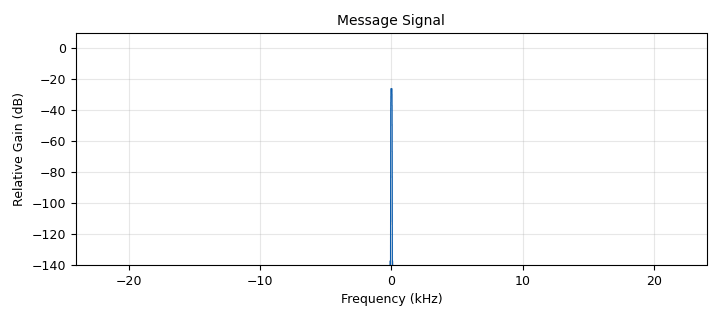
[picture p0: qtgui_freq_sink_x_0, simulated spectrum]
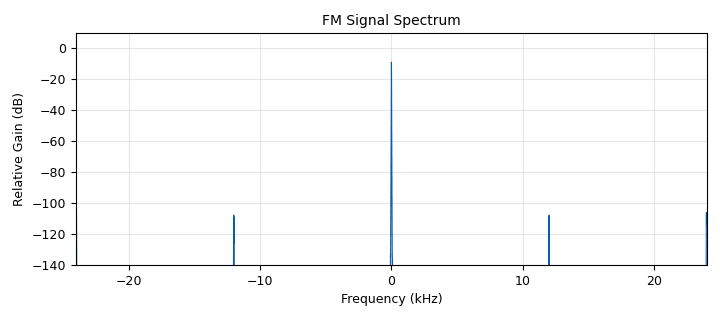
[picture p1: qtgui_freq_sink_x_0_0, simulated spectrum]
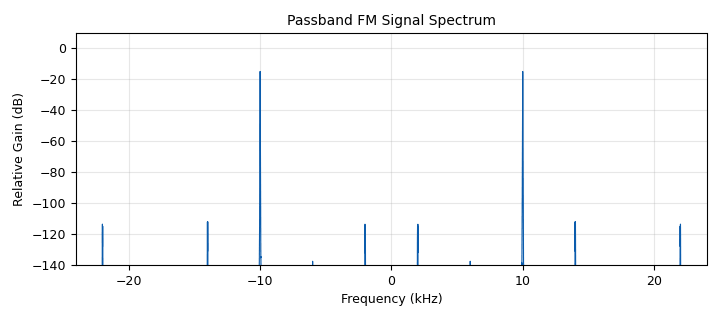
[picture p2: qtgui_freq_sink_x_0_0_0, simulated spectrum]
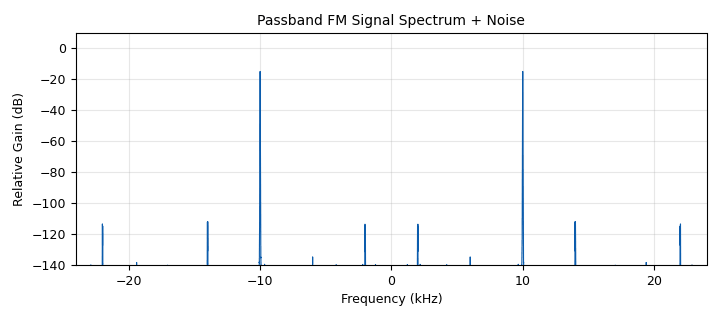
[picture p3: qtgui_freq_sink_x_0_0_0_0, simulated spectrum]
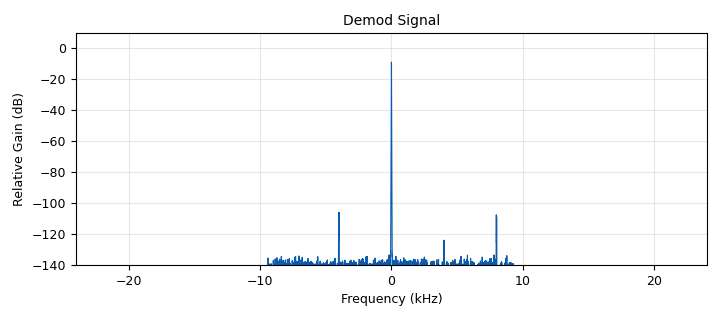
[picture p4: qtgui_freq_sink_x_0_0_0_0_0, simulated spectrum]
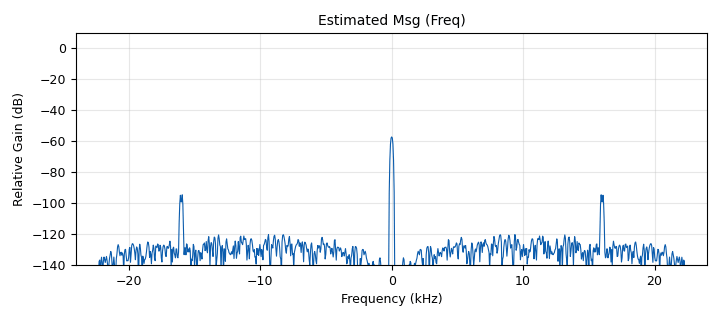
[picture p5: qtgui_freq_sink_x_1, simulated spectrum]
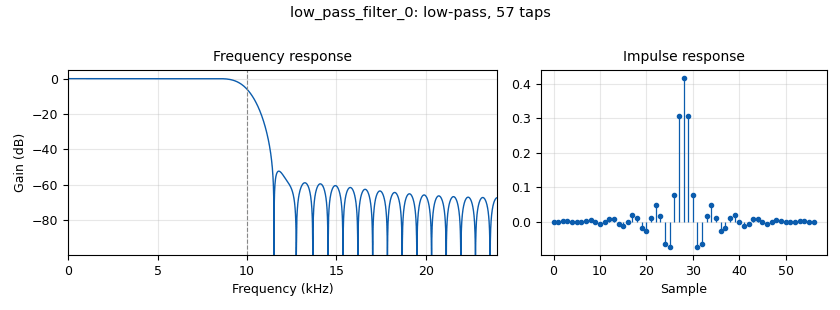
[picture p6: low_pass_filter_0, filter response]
options:
  parameters:
    author: Daniel C. Araújo
    description: Prática de Modula
    generate_options: qt_gui
    id: fm_mod_demod
    output_language: python
    title: Sistema de Transmissão FM
  states: {}

blocks:
- name: B
  id: variable
  parameters:
    value: 100/3.14
  states: {}
- name: SNR_dB
  id: variable_qtgui_range
  parameters:
    label: SNR (dB)
    start: '10'
    step: '1'
    stop: '100'
    value: '50'
  states: {}
- name: W
  id: variable
  parameters:
    value: 10e3
  states: {}
- name: decimation
  id: variable
  parameters:
    value: '4'
  states: {}
- name: f_c
  id: variable
  parameters:
    value: 10e3
  states: {}
- name: k_f
  id: variable_qtgui_range
  parameters:
    label: frequency-deviation constant
    start: '10'
    step: '1'
    stop: '200'
    value: '10'
  states: {}
- name: message_gain_dB
  id: variable_qtgui_range
  parameters:
    start: '0'
    step: '1'
    stop: '100'
    value: '50'
  states: {}
- name: nPoints
  id: variable
  parameters:
    value: int(samp_rate*t_max*2)
  states: {}
- name: samp_rate
  id: variable
  parameters:
    value: '48000'
  states: {}
- name: t_max
  id: variable
  parameters:
    value: '0.1'
  states: {}
- name: analog_noise_source_x_0
  id: analog_noise_source_x
  parameters:
    amp: 10**(-SNR_dB/10)
    noise_type: analog.GR_GAUSSIAN
    seed: '0'
    type: complex
  states: {}
- name: analog_sig_source_x_0_0_0
  id: analog_sig_source_x
  parameters:
    amp: '-1'
    freq: f_c
    offset: '0'
    phase: '0'
    samp_rate: samp_rate
    type: float
    waveform: analog.GR_SIN_WAVE
  states: {}
- name: analog_sig_source_x_0_0_0_0
  id: analog_sig_source_x
  parameters:
    amp: '1'
    freq: f_c
    offset: '0'
    phase: '0'
    samp_rate: samp_rate
    type: float
    waveform: analog.GR_SIN_WAVE
  states: {}
- name: analog_sig_source_x_0_1
  id: analog_sig_source_x
  parameters:
    amp: '1'
    freq: f_c
    offset: '0'
    phase: '0'
    samp_rate: samp_rate
    type: float
    waveform: analog.GR_COS_WAVE
  states: {}
- name: analog_wfm_rcv_0
  id: analog_wfm_rcv
  parameters:
    audio_decimation: decimation
    quad_rate: int(nPoints/(2*t_max))
  states: {}
- name: analog_wfm_tx_0
  id: analog_wfm_tx
  parameters:
    audio_rate: int(nPoints/(2*t_max))
    fh: '-1.0'
    max_dev: k_f
    quad_rate: int(decimation*nPoints/(2*t_max))
    tau: '75e-6'
  states: {}
- name: blocks_add_xx_0
  id: blocks_add_xx
  parameters:
    type: float
  states: {}
- name: blocks_add_xx_1
  id: blocks_add_xx
  parameters:
    type: float
  states: {}
- name: blocks_add_xx_2
  id: blocks_add_xx
  parameters:
    type: float
  states: {}
- name: blocks_complex_to_imag_0
  id: blocks_complex_to_imag
  parameters: {}
  states: {}
- name: blocks_complex_to_imag_0_0
  id: blocks_complex_to_imag
  parameters: {}
  states: {}
- name: blocks_complex_to_mag_squared_0_0
  id: blocks_complex_to_mag_squared
  parameters: {}
  states: {}
- name: blocks_complex_to_real_0
  id: blocks_complex_to_real
  parameters: {}
  states: {}
- name: blocks_complex_to_real_0_0
  id: blocks_complex_to_real
  parameters: {}
  states: {}
- name: blocks_float_to_complex_0
  id: blocks_float_to_complex
  parameters: {}
  states: {}
- name: blocks_integrate_xx_0_0
  id: blocks_integrate_xx
  parameters:
    decim: nPoints
    type: float
  states: {}
- name: blocks_integrate_xx_0_1
  id: blocks_integrate_xx
  parameters:
    decim: nPoints
    type: float
  states: {}
- name: blocks_multiply_const_vxx_0
  id: blocks_multiply_const_vxx
  parameters:
    const: k_f
    type: float
  states: {}
- name: blocks_multiply_const_vxx_1
  id: blocks_multiply_const_vxx
  parameters:
    const: 1/nPoints
    type: float
  states: {}
- name: blocks_multiply_const_vxx_1_0
  id: blocks_multiply_const_vxx
  parameters:
    const: 1/nPoints
    type: float
  states: {}
- name: blocks_multiply_const_vxx_2
  id: blocks_multiply_const_vxx
  parameters:
    const: '2'
    type: float
  states: {}
- name: blocks_multiply_const_vxx_2_0
  id: blocks_multiply_const_vxx
  parameters:
    const: '2'
    type: float
  states: {}
- name: blocks_multiply_const_vxx_3
  id: blocks_multiply_const_vxx
  parameters:
    const: '-10**(message_gain_dB/20)'
    type: float
  states: {}
- name: blocks_multiply_xx_0
  id: blocks_multiply_xx
  parameters:
    type: float
  states: {}
- name: blocks_multiply_xx_0_0
  id: blocks_multiply_xx
  parameters:
    type: float
  states: {}
- name: blocks_multiply_xx_0_0_0
  id: blocks_multiply_xx
  parameters:
    type: float
  states: {}
- name: blocks_multiply_xx_1
  id: blocks_multiply_xx
  parameters:
    type: float
  states: {}
- name: blocks_multiply_xx_1_0
  id: blocks_multiply_xx
  parameters:
    type: float
  states: {}
- name: blocks_multiply_xx_1_0_0
  id: blocks_multiply_xx
  parameters:
    type: float
  states: {}
- name: blocks_multiply_xx_1_1
  id: blocks_multiply_xx
  parameters:
    type: float
  states: {}
- name: blocks_throttle_0
  id: blocks_throttle
  parameters:
    samples_per_second: samp_rate
    type: float
  states: {}
- name: blocks_vector_source_x_0
  id: blocks_vector_source_x
  parameters:
    repeat: 'True'
    type: float
    vector: m_t.message(B,t_max,samp_rate)
  states: {}
- name: low_pass_filter_0
  id: low_pass_filter
  parameters:
    cutoff_freq: W
    decim: '1'
    gain: '1'
    samp_rate: samp_rate
    type: fir_filter_fff
    width: 2e3
    win: window.WIN_HAMMING
  states: {}
- name: low_pass_filter_0_0
  id: low_pass_filter
  parameters:
    cutoff_freq: W
    decim: '1'
    gain: '1'
    samp_rate: samp_rate
    type: fir_filter_fff
    width: 2e3
    win: window.WIN_HAMMING
  states: {}
- name: low_pass_filter_0_1
  id: low_pass_filter
  parameters:
    cutoff_freq: W
    decim: '1'
    gain: '1'
    samp_rate: samp_rate
    type: fir_filter_ccf
    width: 2e3
    win: window.WIN_HAMMING
  states: {}
- name: m_t
  id: epy_module
  parameters:
    source_code: |
      import numpy as np



      def message(B,t_max,sample_rate):

          nPoints = int(2*t_max*sample_rate)
          t = np.linspace(-t_max,t_max,nPoints)
          m = np.sinc(B*np.pi*t)
          return list(m)# this module will be imported in the into your flowgraph
  states: {}
- name: qtgui_freq_sink_x_0
  id: qtgui_freq_sink_x
  parameters:
    bw: samp_rate
    fc: '0'
    fftsize: nPoints
    name: Message Signal
    type: float
  states: {}
- name: qtgui_freq_sink_x_0_0
  id: qtgui_freq_sink_x
  parameters:
    bw: samp_rate
    fc: '0'
    fftsize: nPoints
    name: FM Signal Spectrum
    type: complex
  states: {}
- name: qtgui_freq_sink_x_0_0_0
  id: qtgui_freq_sink_x
  parameters:
    bw: samp_rate
    fc: '0'
    fftsize: nPoints
    name: Passband FM Signal Spectrum
    type: float
  states: {}
- name: qtgui_freq_sink_x_0_0_0_0
  id: qtgui_freq_sink_x
  parameters:
    bw: samp_rate
    fc: '0'
    fftsize: nPoints
    name: Passband FM Signal Spectrum + Noise
    type: float
  states: {}
- name: qtgui_freq_sink_x_0_0_0_0_0
  id: qtgui_freq_sink_x
  parameters:
    bw: samp_rate
    fc: '0'
    fftsize: nPoints
    name: Demod Signal
    type: complex
  states: {}
- name: qtgui_freq_sink_x_1
  id: qtgui_freq_sink_x
  parameters:
    bw: samp_rate
    fc: '0'
    fftsize: '1024'
    name: Estimated Msg (Freq)
    type: float
  states: {}
- name: qtgui_number_sink_0_0
  id: qtgui_number_sink
  parameters:
    autoscale: 'True'
    graph_type: qtgui.NUM_GRAPH_NONE
    name: Tx power
    type: float
  states: {}
- name: qtgui_number_sink_0_1
  id: qtgui_number_sink
  parameters:
    autoscale: 'True'
    graph_type: qtgui.NUM_GRAPH_NONE
    name: Baseband_power
    type: float
  states: {}
- name: qtgui_time_sink_x_0
  id: qtgui_time_sink_x
  parameters:
    name: FM signal
    size: nPoints
    srate: samp_rate
    type: complex
  states: {}
- name: qtgui_time_sink_x_1
  id: qtgui_time_sink_x
  parameters:
    color1: black
    label1: Estimated Message
    label2: Message
    name: Estimated Message
    nconnections: '2'
    size: nPoints
    srate: samp_rate
    style2: '2'
    type: float
    width1: '2'
    width2: '2'
  states: {}
- name: virtual_sink_0
  id: virtual_sink
  parameters:
    stream_id: baseband_signal
  states: {}
- name: virtual_sink_1
  id: virtual_sink
  parameters:
    stream_id: tx_signal
  states: {}
- name: virtual_sink_2
  id: virtual_sink
  parameters:
    stream_id: LO_cos
  states: {}
- name: virtual_sink_2_0
  id: virtual_sink
  parameters:
    stream_id: LO_sin
  states: {}
- name: virtual_sink_2_0_0
  id: virtual_sink
  parameters:
    stream_id: LO2_sin
  states: {}
- name: virtual_sink_3
  id: virtual_sink
  parameters:
    stream_id: rx_signal
  states: {}
- name: virtual_sink_4
  id: virtual_sink
  parameters:
    stream_id: rx_baseband
  states: {}
- name: virtual_sink_5
  id: virtual_sink
  parameters:
    stream_id: original_message
  states: {}
- name: virtual_source_0
  id: virtual_source
  parameters:
    stream_id: tx_signal
  states: {}
- name: virtual_source_0_0
  id: virtual_source
  parameters:
    stream_id: tx_signal
  states: {}
- name: virtual_source_1
  id: virtual_source
  parameters:
    stream_id: baseband_signal
  states: {}
- name: virtual_source_1_0
  id: virtual_source
  parameters:
    stream_id: baseband_signal
  states: {}
- name: virtual_source_2
  id: virtual_source
  parameters:
    stream_id: LO_cos
  states: {}
- name: virtual_source_2_0
  id: virtual_source
  parameters:
    stream_id: LO_sin
  states: {}
- name: virtual_source_3
  id: virtual_source
  parameters:
    stream_id: LO_cos
  states: {}
- name: virtual_source_3_0
  id: virtual_source
  parameters:
    stream_id: LO_sin
  states: {}
- name: virtual_source_3_1
  id: virtual_source
  parameters:
    stream_id: LO_cos
  states: {}
- name: virtual_source_4
  id: virtual_source
  parameters:
    stream_id: rx_signal
  states: {}
- name: virtual_source_5
  id: virtual_source
  parameters:
    stream_id: LO2_sin
  states: {}
- name: virtual_source_6
  id: virtual_source
  parameters:
    stream_id: rx_baseband
  states: {}
- name: virtual_source_7
  id: virtual_source
  parameters:
    stream_id: original_message
  states: {}

connections:
- [analog_noise_source_x_0, '0', blocks_complex_to_imag_0_0, '0']
- [analog_noise_source_x_0, '0', blocks_complex_to_real_0_0, '0']
- [analog_sig_source_x_0_0_0, '0', virtual_sink_2_0, '0']
- [analog_sig_source_x_0_0_0_0, '0', virtual_sink_2_0_0, '0']
- [analog_sig_source_x_0_1, '0', virtual_sink_2, '0']
- [analog_wfm_rcv_0, '0', blocks_multiply_const_vxx_3, '0']
- [analog_wfm_tx_0, '0', qtgui_freq_sink_x_0_0, '0']
- [analog_wfm_tx_0, '0', qtgui_time_sink_x_0, '0']
- [analog_wfm_tx_0, '0', virtual_sink_0, '0']
- [blocks_add_xx_0, '0', qtgui_freq_sink_x_0_0_0, '0']
- [blocks_add_xx_0, '0', virtual_sink_1, '0']
- [blocks_add_xx_1, '0', qtgui_freq_sink_x_0_0_0_0, '0']
- [blocks_add_xx_1, '0', virtual_sink_3, '0']
- [blocks_add_xx_2, '0', blocks_add_xx_1, '1']
- [blocks_complex_to_imag_0, '0', blocks_multiply_xx_0_0, '0']
- [blocks_complex_to_imag_0_0, '0', blocks_multiply_xx_1_0, '1']
- [blocks_complex_to_mag_squared_0_0, '0', blocks_integrate_xx_0_1, '0']
- [blocks_complex_to_real_0, '0', blocks_multiply_xx_0, '0']
- [blocks_complex_to_real_0_0, '0', blocks_multiply_xx_1, '0']
- [blocks_float_to_complex_0, '0', low_pass_filter_0_1, '0']
- [blocks_integrate_xx_0_0, '0', blocks_multiply_const_vxx_1, '0']
- [blocks_integrate_xx_0_1, '0', blocks_multiply_const_vxx_1_0, '0']
- [blocks_multiply_const_vxx_0, '0', analog_wfm_tx_0, '0']
- [blocks_multiply_const_vxx_1, '0', qtgui_number_sink_0_0, '0']
- [blocks_multiply_const_vxx_1_0, '0', qtgui_number_sink_0_1, '0']
- [blocks_multiply_const_vxx_2, '0', blocks_multiply_xx_1_1, '1']
- [blocks_multiply_const_vxx_2_0, '0', blocks_multiply_xx_1_0_0, '0']
- [blocks_multiply_const_vxx_3, '0', qtgui_freq_sink_x_1, '0']
- [blocks_multiply_const_vxx_3, '0', qtgui_time_sink_x_1, '0']
- [blocks_multiply_xx_0, '0', blocks_add_xx_0, '0']
- [blocks_multiply_xx_0_0, '0', blocks_add_xx_0, '1']
- [blocks_multiply_xx_0_0_0, '0', blocks_integrate_xx_0_0, '0']
- [blocks_multiply_xx_1, '0', blocks_add_xx_2, '0']
- [blocks_multiply_xx_1_0, '0', blocks_add_xx_2, '1']
- [blocks_multiply_xx_1_0_0, '0', low_pass_filter_0_0, '0']
- [blocks_multiply_xx_1_1, '0', low_pass_filter_0, '0']
- [blocks_throttle_0, '0', blocks_multiply_const_vxx_0, '0']
- [blocks_throttle_0, '0', qtgui_freq_sink_x_0, '0']
- [blocks_vector_source_x_0, '0', blocks_throttle_0, '0']
- [blocks_vector_source_x_0, '0', virtual_sink_5, '0']
- [low_pass_filter_0, '0', blocks_float_to_complex_0, '0']
- [low_pass_filter_0_0, '0', blocks_float_to_complex_0, '1']
- [low_pass_filter_0_1, '0', qtgui_freq_sink_x_0_0_0_0_0, '0']
- [low_pass_filter_0_1, '0', virtual_sink_4, '0']
- [virtual_source_0, '0', blocks_multiply_xx_0_0_0, '0']
- [virtual_source_0, '0', blocks_multiply_xx_0_0_0, '1']
- [virtual_source_0_0, '0', blocks_add_xx_1, '0']
- [virtual_source_1, '0', blocks_complex_to_mag_squared_0_0, '0']
- [virtual_source_1_0, '0', blocks_complex_to_imag_0, '0']
- [virtual_source_1_0, '0', blocks_complex_to_real_0, '0']
- [virtual_source_2, '0', blocks_multiply_xx_0, '1']
- [virtual_source_2_0, '0', blocks_multiply_xx_0_0, '1']
- [virtual_source_3, '0', blocks_multiply_xx_1, '1']
- [virtual_source_3_0, '0', blocks_multiply_xx_1_0, '0']
- [virtual_source_3_1, '0', blocks_multiply_const_vxx_2, '0']
- [virtual_source_4, '0', blocks_multiply_xx_1_0_0, '1']
- [virtual_source_4, '0', blocks_multiply_xx_1_1, '0']
- [virtual_source_5, '0', blocks_multiply_const_vxx_2_0, '0']
- [virtual_source_6, '0', analog_wfm_rcv_0, '0']
- [virtual_source_7, '0', qtgui_time_sink_x_1, '1']

metadata:
  file_format: 1
